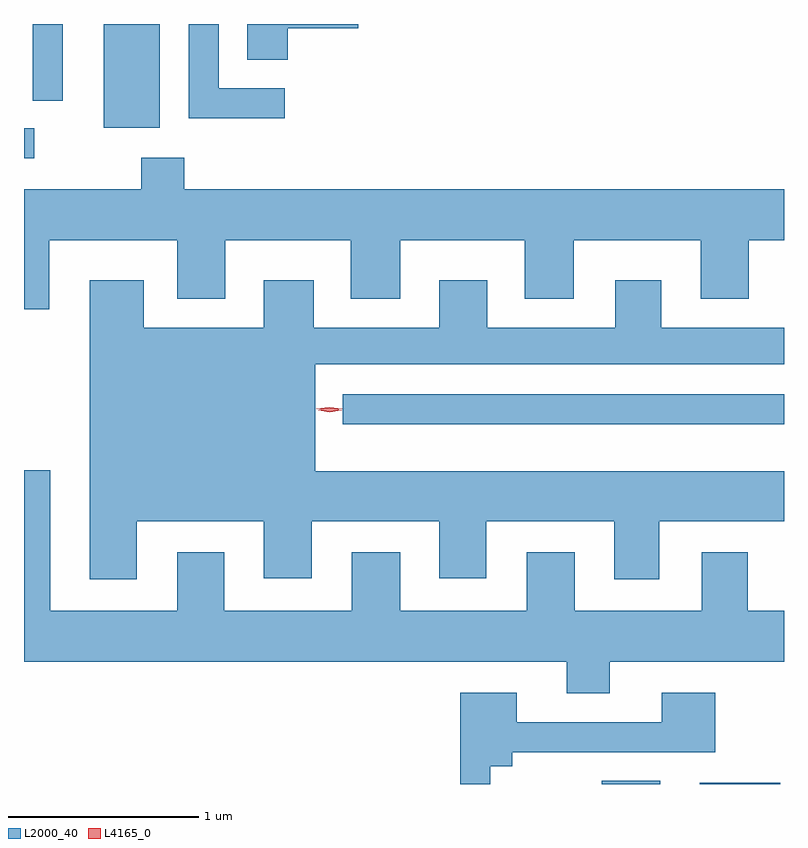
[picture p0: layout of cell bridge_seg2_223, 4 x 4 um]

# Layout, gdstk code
import gdstk
lib = gdstk.Library(unit=1e-6, precision=1e-09)
def R(c, l, rs):  # rectangles x0, y0, x1, y1
    for r in rs: c.add(gdstk.rectangle(r[:2], r[2:], *l))
def P(c, l, *ps):  # polygons
    for p in ps: c.add(gdstk.Polygon(p, *l))
L2000_40 = (2000, 40)
L4165_0 = (4165, 0)

bridge_seg2_223 = lib.new_cell('bridge_seg2_223')
R(bridge_seg2_223, L2000_40, [(604.906,1052.113,605.214,1052.129), (605.421,1052.113,605.844,1052.119), (603.543,1054.006,605.865,1054.164), (601.865,1055.406,601.918,1055.564), (602.286,1055.566,602.579,1056.113), (601.911,1055.708,602.069,1056.113)])
P(bridge_seg2_223, L2000_40, [(603.238,1055.774),(602.889,1055.774),(602.889,1056.113),(602.731,1056.113),(602.731,1055.616),(603.238,1055.616)],
  [(603.254,1056.091),(603.624,1056.091),(603.624,1056.113),(603.041,1056.113),(603.041,1055.926),(603.254,1055.926)],
  [(601.999,1054.976),(602.671,1054.976),(602.671,1054.666),(602.924,1054.666),(602.924,1054.976),(603.586,1054.976),(603.586,1054.666),(603.844,1054.666),(603.844,1054.976),(604.501,1054.976),(604.501,1054.666),(604.759,1054.666),(604.759,1054.976),(605.426,1054.976),(605.426,1054.666),(605.679,1054.666),(605.679,1054.976),(605.865,1054.976),(605.865,1055.244),(602.709,1055.244),(602.709,1055.409),(602.481,1055.409),(602.481,1055.244),(601.865,1055.244),(601.865,1054.611),(601.999,1054.611)],
  [(602.459,1053.496),(603.126,1053.496),(603.126,1053.196),(603.379,1053.196),(603.379,1053.496),(604.051,1053.496),(604.051,1053.196),(604.299,1053.196),(604.299,1053.496),(604.971,1053.496),(604.971,1053.191),(605.209,1053.191),(605.209,1053.496),(605.865,1053.496),(605.865,1053.759),(603.399,1053.759),(603.399,1054.321),(605.865,1054.321),(605.865,1054.514),(605.219,1054.514),(605.219,1054.764),(604.976,1054.764),(604.976,1054.514),(604.304,1054.514),(604.304,1054.764),(604.051,1054.764),(604.051,1054.514),(603.389,1054.514),(603.389,1054.764),(603.126,1054.764),(603.126,1054.514),(602.494,1054.514),(602.494,1054.764),(602.211,1054.764),(602.211,1053.191),(602.459,1053.191)],
  [(604.949,1052.756),(605.865,1052.756),(605.865,1053.024),(605.674,1053.024),(605.674,1053.334),(605.431,1053.334),(605.431,1053.024),(604.764,1053.024),(604.764,1053.334),(604.511,1053.334),(604.511,1053.024),(603.844,1053.024),(603.844,1053.334),(603.591,1053.334),(603.591,1053.024),(602.919,1053.024),(602.919,1053.334),(602.671,1053.334),(602.671,1053.024),(602.004,1053.024),(602.004,1053.764),(601.865,1053.764),(601.865,1052.756),(604.721,1052.756),(604.721,1052.591),(604.949,1052.591)],
  [(604.319,1052.206),(604.434,1052.206),(604.434,1052.281),(605.504,1052.281),(605.504,1052.594),(605.221,1052.594),(605.221,1052.439),(604.459,1052.439),(604.459,1052.594),(604.161,1052.594),(604.161,1052.113),(604.319,1052.113)])
P(bridge_seg2_223, L4165_0, [(603.475,1054.07),(603.413,1054.079),(603.412,1054.08),(603.413,1054.08),(603.475,1054.09),(603.536,1054.08),(603.537,1054.08),(603.536,1054.079)],
  [(603.471,1054.078),(603.402,1054.087),(603.402,1054.088),(603.402,1054.088),(603.471,1054.097),(603.54,1054.088),(603.54,1054.087),(603.54,1054.087)])

lib.write_gds('bridge_seg2_223.gds')
